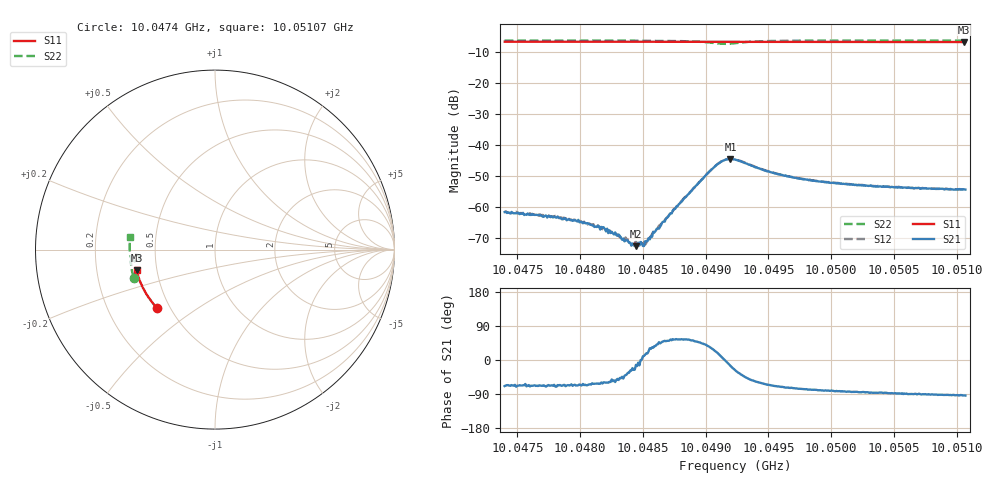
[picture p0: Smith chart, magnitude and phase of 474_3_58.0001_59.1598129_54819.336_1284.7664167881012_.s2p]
#  HZ  S  RI  R  50.00
! Rohde & Schwarz Vector Network Analyzer
! Rohde-Schwarz,ZNB20-2Port,1311601062101988,3.16
! Created: UTC 3/21/2024, 1:11:36 AM
! freq[Hz]  re:S11  im:S11  re:S21  im:S21  re:S12  im:S12  re:S22  im:S22
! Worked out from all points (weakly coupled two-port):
!   401 points, 10.0474 GHz to 10.05107 GHz, reference 50 ohm
!   highest |S21| = -44.51 dB at 10.0492 GHz (marker M1); lowest = -72.5 dB at 10.04844 GHz (marker M2)
!   lowest |S11| = -6.9 dB at 10.05106 GHz (marker M3), VSWR 2.65, Z = 19.1 - j5.6 ohm
!   |S11| at or under -10 dB: nowhere
!   |S22| runs from -7.5 to -6.4 dB; largest |S21 - S12| = 0.00045
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1.0047398e10  -0.3233 -0.3251  0.000302 -0.00078  0.000384 -0.000731  -0.4528 -0.1564
1.0047728e10  -0.3379 -0.3089  0.000248 -0.000692  0.000332 -0.000663  -0.4591 -0.1347
1.0048013e10  -0.3498 -0.2943  0.000227 -0.000534  0.00028 -0.000501  -0.4635 -0.1151
1.0048196e10  -0.3573 -0.2849  0.000229 -0.000383  0.000248 -0.000367  -0.466 -0.1018
1.0048297e10  -0.3612 -0.2794  0.000224 -0.000265  0.000248 -0.000271  -0.467 -0.0945
1.0048343e10  -0.363 -0.277  0.000206 -0.000236  0.000247 -0.000187  -0.4675 -0.0908
1.004838e10  -0.3644 -0.2751  0.000241 -0.000162  0.000248 -0.000168  -0.4678 -0.088
1.0048408e10  -0.3655 -0.2735  0.000213 -0.000113  0.000232 -0.00011  -0.4679 -0.086
1.0048444e10  -0.3669 -0.2716  0.00023 -5.26e-05  0.000272 -7.1e-05  -0.4682 -0.083
1.0048518e10  -0.3695 -0.2675  0.000273 6.8e-05  0.000239 7.26e-05  -0.4683 -0.0769
1.0048536e10  -0.3702 -0.2666  0.000272 8.57e-05  0.000275 9.05e-05  -0.4685 -0.0754
1.0048628e10  -0.3736 -0.2616  0.000308 0.000331  0.000354 0.000359  -0.4683 -0.0675
1.0048756e10  -0.3782 -0.2543  0.00055 0.000763  0.00049 0.000808  -0.4665 -0.0549
1.0049041e10  -0.3876 -0.2382  0.00331 0.00208  0.00319 0.0023  -0.4398 -0.0278
1.0049123e10  -0.3902 -0.2335  0.00532 0.000889  0.00529 0.00122  -0.4225 -0.0369
1.0049197e10  -0.3922 -0.2297  0.00574 -0.00156  0.0059 -0.0012  -0.4221 -0.0563
1.0049234e10  -0.3936 -0.2278  0.00523 -0.00261  0.00544 -0.00225  -0.4286 -0.0633
1.0049564e10  -0.4037 -0.2084  0.00123 -0.00323  0.0014 -0.00317  -0.4689 -0.0421
1.0049849e10  -0.4116 -0.1915  0.000533 -0.00262  0.000733 -0.00259  -0.4745 -0.017
1.0050463e10  -0.4261 -0.1538  8.58e-05 -0.00211  0.000212 -0.00213  -0.4754 0.0287
1.005106e10  -0.4369 -0.1164  -0.00012 -0.00193  -1.73e-05 -0.0019  -0.471 0.0696
1.0051069e10  -0.4371 -0.1157  -0.000134 -0.00191  -1.89e-05 -0.00192  -0.4709 0.07
